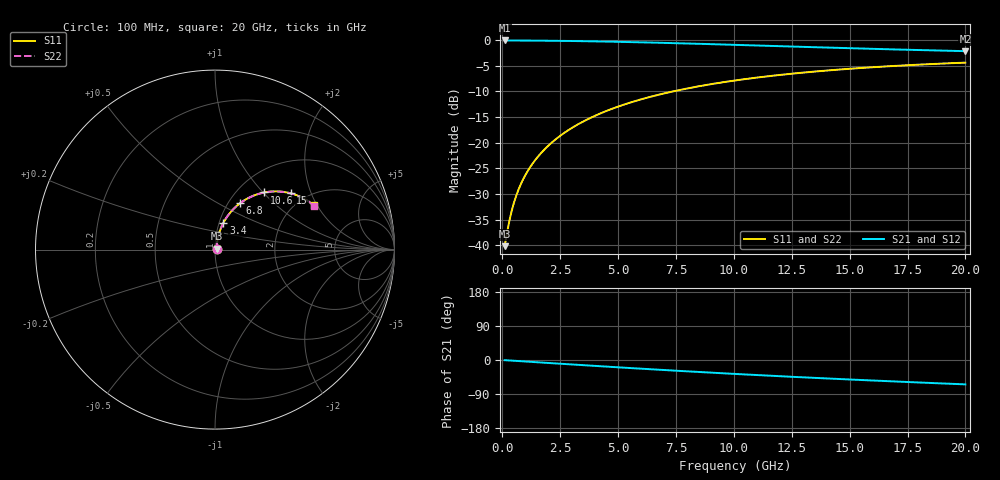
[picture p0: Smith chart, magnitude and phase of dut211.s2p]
! Touchstone file exported from HFSS 2026.1.0
!  File:  C:/ffzhzh/LocalFiles/Ansys_Project_Files/temp_train_TMRDL_211_1782984156_40604.aedt
!  Generated:  05:24:09 PM Jul  2, 2026
!  Design:  TMRDL
!  Project:  temp_train_TMRDL_211_1782984156_40604
! Variables:
!  h_bsmrdl = 2um
!  h_ox = 20um
!  h_rdl = 5um
!  h_sub = 80um
!  h_tmrdl = 3.36um
!  h_tsv = 80um
!  h_via = 3um
!  l_bsmrdl = 300um
!  l_sub = 1397.59um
!  l_tmrdl = 997.59um
!  m_sub = 200um
!  pitch = 41.43um
!  r_tsv = 6um
!  s_tmrdl = 10um
!  w_bsmrdl = 18um
!  w_sub = 500um
!  w_tmrdl = 12.3um
!  x_tsv_center1 = 1003.74um
!  x_tsv_center2 = 1321.74um
!  x_tsv_center3 = 2331.63um
!  x_tsv_center4 = 2649.63um
!  x_tsv_center5 = 3659.52um
!  x_tsv_center6 = 3977.52um
# GHz S MA R 50.000000
! Terminal data exported
! Port[1] = TM_RDL1_1_T1
! Port[2] = TM_RDL1_1_T2
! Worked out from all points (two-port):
!   200 points, 100 MHz to 20 GHz, reference 50 ohm
!   highest |S21| = -0.07 dB at 100 MHz (marker M1); lowest = -2.2 dB at 20 GHz (marker M2)
!   |S21| within 3 dB of the highest: start of sweep to end of sweep
!   lowest |S11| = -40.2 dB at 100 MHz (marker M3), VSWR 1.02, Z = 50.9 + j0.496 ohm
!   |S11| at or under -10 dB: start of sweep to 7.378 GHz
!   |S22| runs from -40.2 to -4.4 dB; largest |S21 - S12| = 5.5e-15
!   S11 on the Smith chart (normalised r, x): 100 MHz: 1.02, +0.01; 3.4 GHz: 1.05, +0.32; 6.8 GHz: 1.13, +0.64; 10.6 GHz: 1.31, +1.01; 15 GHz: 1.67, +1.45; 20 GHz: 2.42, +1.87
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0.1  0.009799 29.9  0.9915 -0.4  0.9915 -0.4  0.009799 29.9
! Gamma 0 0 0 0
! Port Impedance 50 0 50 0
0.3  0.01708 58.0  0.9912 -1.2  0.9912 -1.2  0.01708 58.0
0.4  0.02141 63.8  0.9909 -1.6  0.9909 -1.6  0.02141 63.8
0.5  0.02584 67.4  0.9906 -2.0  0.9906 -2.0  0.02584 67.4
0.6  0.03033 69.9  0.9904 -2.4  0.9904 -2.4  0.03033 69.9
0.8  0.03937 72.9  0.9898 -3.2  0.9898 -3.2  0.03937 72.9
1.1  0.05301 75.0  0.9889 -4.4  0.9889 -4.4  0.05301 75.0
1.6  0.07583 76.0  0.9871 -6.3  0.9871 -6.3  0.07583 76.0
2.1  0.09859 75.7  0.9848 -8.3  0.9848 -8.3  0.09859 75.7
2.7  0.1256 74.5  0.9814 -10.6  0.9814 -10.6  0.1256 74.5
3.4  0.1567 72.6  0.9765 -13.3  0.9765 -13.3  0.1567 72.6
3.5  0.1611 72.3  0.9757 -13.7  0.9757 -13.7  0.1611 72.3
4.2  0.1912 70.1  0.9698 -16.3  0.9698 -16.3  0.1913 70.1
5  0.2247 67.5  0.962 -19.3  0.962 -19.3  0.2247 67.5
6.8  0.2951 61.5  0.9415 -25.8  0.9415 -25.8  0.2951 61.4
8.3  0.3483 56.5  0.9223 -31.0  0.9223 -31.0  0.3483 56.5
10.1  0.4053 50.8  0.8979 -36.9  0.8979 -36.9  0.4053 50.8
10.6  0.4199 49.3  0.8911 -38.5  0.8911 -38.5  0.4199 49.2
13.4  0.4914 41.1  0.8534 -46.9  0.8534 -46.9  0.4914 41.0
15  0.5252 36.7  0.8332 -51.5  0.8332 -51.5  0.5252 36.6
16.7  0.556 32.2  0.8132 -56.0  0.8132 -56.0  0.5561 32.1
20  0.6029 24.2  0.78 -64.3  0.78 -64.3  0.6029 24.0
